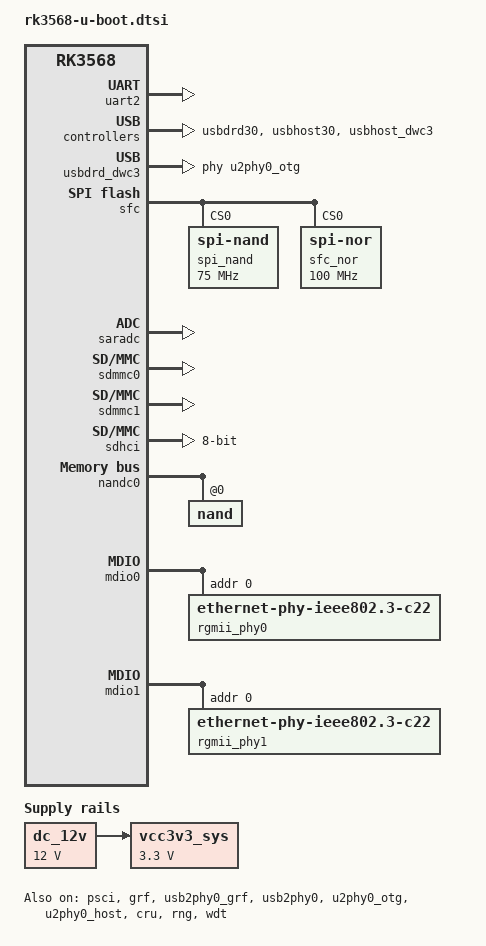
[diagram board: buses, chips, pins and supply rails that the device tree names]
/*
 * (C) Copyright 2020 Rockchip Electronics Co., Ltd
 *
 * SPDX-License-Identifier:     GPL-2.0+
 */

/ {
	aliases {
		ethernet0 = &gmac0;
		ethernet1 = &gmac1;
		mmc0 = &sdhci;
		mmc1 = &sdmmc0;
		mmc2 = &sdmmc1;
	};

	chosen {
		stdout-path = &uart2;
		u-boot,spl-boot-order = &sdmmc0, &sdhci, &nandc0, &spi_nand, &spi_nor;
	};

	dc_12v: dc-12v {
		compatible = "regulator-fixed";
		regulator-name = "dc_12v";
		regulator-always-on;
		regulator-boot-on;
		regulator-min-microvolt = <12000000>;
		regulator-max-microvolt = <12000000>;
	};

	vcc3v3_sys: vcc3v3-sys {
		compatible = "regulator-fixed";
		regulator-name = "vcc3v3_sys";
		regulator-always-on;
		regulator-boot-on;
		regulator-min-microvolt = <3300000>;
		regulator-max-microvolt = <3300000>;
		vin-supply = <&dc_12v>;
	};

};

&psci {
	u-boot,dm-pre-reloc;
	status = "okay";
};

&crypto {
	u-boot,dm-pre-reloc;
};

&uart2 {
	clock-frequency = <24000000>;
	u-boot,dm-spl;
	/delete-property/ pinctrl-names;
	/delete-property/ pinctrl-0;
	status = "okay";
};

&grf {
	u-boot,dm-pre-reloc;
	status = "okay";
};

&pmugrf {
	u-boot,dm-pre-reloc;
	status = "okay";
};

&usb2phy0_grf {
	u-boot,dm-pre-reloc;
	status = "okay";
};

&usbdrd30 {
	u-boot,dm-pre-reloc;
	status = "okay";
};

&usbdrd_dwc3 {
	u-boot,dm-pre-reloc;
    phys = <&u2phy0_otg>;
    phy-names = "usb2-phy";
    extcon = <&usb2phy0>;
    maximum-speed = "high-speed"; /* only USB2.0 */
    snps,dis_u2_susphy_quirk; /* only USB2.0 */
	status = "okay";
};

&usbhost30 {
	u-boot,dm-pre-reloc;
	status = "okay";
};

&usbhost_dwc3 {
	u-boot,dm-pre-reloc;
	status = "okay";
};

&usb2phy0 {
	u-boot,dm-pre-reloc;
	status = "okay";
};

&u2phy0_otg {
	u-boot,dm-pre-reloc;
	status = "okay";
};

&u2phy0_host {
	u-boot,dm-pre-reloc;
	status = "okay";
};

&cru {
	u-boot,dm-pre-reloc;
	status = "okay";
};

&pmucru {
	u-boot,dm-pre-reloc;
	status = "okay";
};

&rng {
	u-boot,dm-pre-reloc;
	status = "okay";
};

&sfc {
	u-boot,dm-spl;
	/delete-property/ pinctrl-names;
	/delete-property/ pinctrl-0;
	/delete-property/ assigned-clocks;
	/delete-property/ assigned-clock-rates;
	status = "okay";

	#address-cells = <1>;
	#size-cells = <0>;
	spi_nand: flash@0 {
		u-boot,dm-spl;
		compatible = "spi-nand";
		reg = <0>;
		spi-tx-bus-width = <1>;
		spi-rx-bus-width = <4>;
		spi-max-frequency = <75000000>;
	};

	spi_nor: flash@1 {
		u-boot,dm-spl;
		compatible = "jedec,spi-nor";
		label = "sfc_nor";
		reg = <0>;
		spi-tx-bus-width = <1>;
		spi-rx-bus-width = <4>;
		spi-max-frequency = <100000000>;
	};
};

&saradc {
	u-boot,dm-spl;
	status = "okay";
};

&sdmmc0 {
	u-boot,dm-spl;
	status = "okay";
};

&sdmmc0_pins {
	u-boot,dm-spl;
};

&sdmmc0_bus4 {
	u-boot,dm-spl;
};

&sdmmc0_clk {
	u-boot,dm-spl;
};

&sdmmc0_cmd {
	u-boot,dm-spl;
};

&sdmmc0_det {
	u-boot,dm-spl;
};

&sdmmc1 {
	u-boot,dm-spl;
	/delete-property/ pinctrl-names;
	/delete-property/ pinctrl-0;
	status = "okay";
};

&sdhci {
	bus-width = <8>;
	u-boot,dm-spl;
	/delete-property/ pinctrl-names;
	/delete-property/ pinctrl-0;
	mmc-hs200-1_8v;
	status = "okay";
};

&nandc0 {
	u-boot,dm-spl;
	status = "okay";
	#address-cells = <1>;
	#size-cells = <0>;
	/delete-property/ pinctrl-names;
	/delete-property/ pinctrl-0;

	nand@0 {
		u-boot,dm-spl;
		reg = <0>;
		nand-ecc-mode = "hw";
		nand-ecc-strength = <16>;
		nand-ecc-step-size = <1024>;
	};
};

&gmac0_clkin{
	u-boot,dm-pre-reloc;
};

&gmac1_clkin {
	u-boot,dm-pre-reloc;
};

&gmac0 {
	u-boot,dm-pre-reloc;
	phy-mode = "rgmii";
	clock_in_out = "output";

	snps,reset-gpio = <&gpio2 RK_PD3 GPIO_ACTIVE_LOW>;
	snps,reset-active-low;
	/* Reset time is 20ms, 100ms for rtl8211f */
	snps,reset-delays-us = <0 20000 100000>;
	assigned-clocks = <&cru SCLK_GMAC0_RX_TX>, <&cru SCLK_GMAC0>;
	assigned-clock-parents = <&cru SCLK_GMAC0_RGMII_SPEED>;
	assigned-clock-rates = <0>, <125000000>;

	pinctrl-names = "default";
	pinctrl-0 = <&gmac0_miim
		     &gmac0_tx_bus2
		     &gmac0_rx_bus2
		     &gmac0_rgmii_clk
		     &gmac0_rgmii_bus>;

	tx_delay = <0x3c>;
	rx_delay = <0x2f>;

	phy-handle = <&rgmii_phy0>;
	status = "disabled";
};

&gmac1 {
	u-boot,dm-pre-reloc;
	phy-mode = "rgmii";
	clock_in_out = "output";

	snps,reset-gpio = <&gpio2 RK_PD1 GPIO_ACTIVE_LOW>;
	snps,reset-active-low;
	/* Reset time is 20ms, 100ms for rtl8211f */
	snps,reset-delays-us = <0 20000 100000>;

	assigned-clocks = <&cru SCLK_GMAC1_RX_TX>, <&cru SCLK_GMAC1>;
	assigned-clock-parents = <&cru SCLK_GMAC1_RGMII_SPEED>;
	assigned-clock-rates = <0>, <125000000>;

	pinctrl-names = "default";
	pinctrl-0 = <&gmac1m1_miim
		     &gmac1m1_tx_bus2
		     &gmac1m1_rx_bus2
		     &gmac1m1_rgmii_clk
		     &gmac1m1_rgmii_bus>;

	tx_delay = <0x4f>;
	rx_delay = <0x26>;

	phy-handle = <&rgmii_phy1>;
	status = "disabled";
};

&gmac0_stmmac_axi_setup {
	u-boot,dm-pre-reloc;
};

&gmac0_mtl_rx_setup {
	u-boot,dm-pre-reloc;
	queue0 {
		u-boot,dm-pre-reloc;
	};
};

&gmac0_mtl_tx_setup {
	u-boot,dm-pre-reloc;
	queue0 {
		u-boot,dm-pre-reloc;
	};
};

&gmac1_stmmac_axi_setup {
	u-boot,dm-pre-reloc;
};

&gmac1_mtl_rx_setup {
	u-boot,dm-pre-reloc;
	queue0 {
		u-boot,dm-pre-reloc;
	};
};

&gmac1_mtl_tx_setup {
	u-boot,dm-pre-reloc;
	queue0 {
		u-boot,dm-pre-reloc;
	};
};

&mdio0 {
	u-boot,dm-pre-reloc;
	rgmii_phy0: phy@0 {
		compatible = "ethernet-phy-ieee802.3-c22";
		u-boot,dm-pre-reloc;
		reg = <0x0>;
	};
};

&mdio1 {
	u-boot,dm-pre-reloc;
	rgmii_phy1: phy@0 {
		compatible = "ethernet-phy-ieee802.3-c22";
		u-boot,dm-pre-reloc;
		reg = <0x0>;
	};
};

&gmac0_miim {
	u-boot,dm-pre-reloc;
};

&gmac0_clkinout {
	u-boot,dm-pre-reloc;
};

&gmac0_rx_bus2 {
	u-boot,dm-pre-reloc;
};

&gmac0_tx_bus2 {
	u-boot,dm-pre-reloc;
};

&gmac0_rgmii_clk {
	u-boot,dm-pre-reloc;
};

&gmac0_rgmii_bus {
	u-boot,dm-pre-reloc;
};

&gmac1m1_miim {
	u-boot,dm-pre-reloc;
};

&gmac1m1_clkinout {
	u-boot,dm-pre-reloc;
};

&gmac1m1_rx_bus2 {
	u-boot,dm-pre-reloc;
};

&gmac1m1_tx_bus2 {
	u-boot,dm-pre-reloc;
};

&gmac1m1_rgmii_clk {
	u-boot,dm-pre-reloc;
};

&gmac1m1_rgmii_bus {
	u-boot,dm-pre-reloc;
};

&eth0_clkout_pins {
	u-boot,dm-pre-reloc;
};

&eth1m1_clkout_pins {
	u-boot,dm-pre-reloc;
};

&pinctrl {
	u-boot,dm-pre-reloc;
	status = "okay";
};

&gpio0 {
	u-boot,dm-spl;
};

&gpio1 {
	u-boot,dm-spl;
};

&gpio2 {
	u-boot,dm-pre-reloc;
};

&pcfg_pull_none_drv_level_1 {
	u-boot,dm-pre-reloc;
};

&pcfg_pull_none_drv_level_2 {
	u-boot,dm-pre-reloc;
};


&pcfg_pull_up_drv_level_1 {
	u-boot,dm-spl;
};

&pcfg_pull_up_drv_level_2 {
	u-boot,dm-spl;
};

&pcfg_pull_up {
	u-boot,dm-spl;
};

&pcfg_pull_none {
	u-boot,dm-pre-reloc;
};

&secure_otp {
	u-boot,dm-spl;
};

&wdt {
	u-boot,dm-pre-reloc;
	status = "okay";
};

&pipegrf {
	u-boot,dm-pre-reloc;
};

&pipe_phy_grf1{
	u-boot,dm-pre-reloc;
};

#if 0
&i2c0 {
	u-boot,dm-pre-reloc;
	status = "okay";
};

&i2c0_xfer {
	u-boot,dm-pre-reloc;
	status = "okay";
};

&i2c1 {
	u-boot,dm-pre-reloc;
	status = "okay";
};

&i2c1_xfer {
	u-boot,dm-pre-reloc;
	status = "okay";
};

&pcfg_pull_none_smt {
	u-boot,dm-pre-reloc;
	status = "okay";
};
#endif

